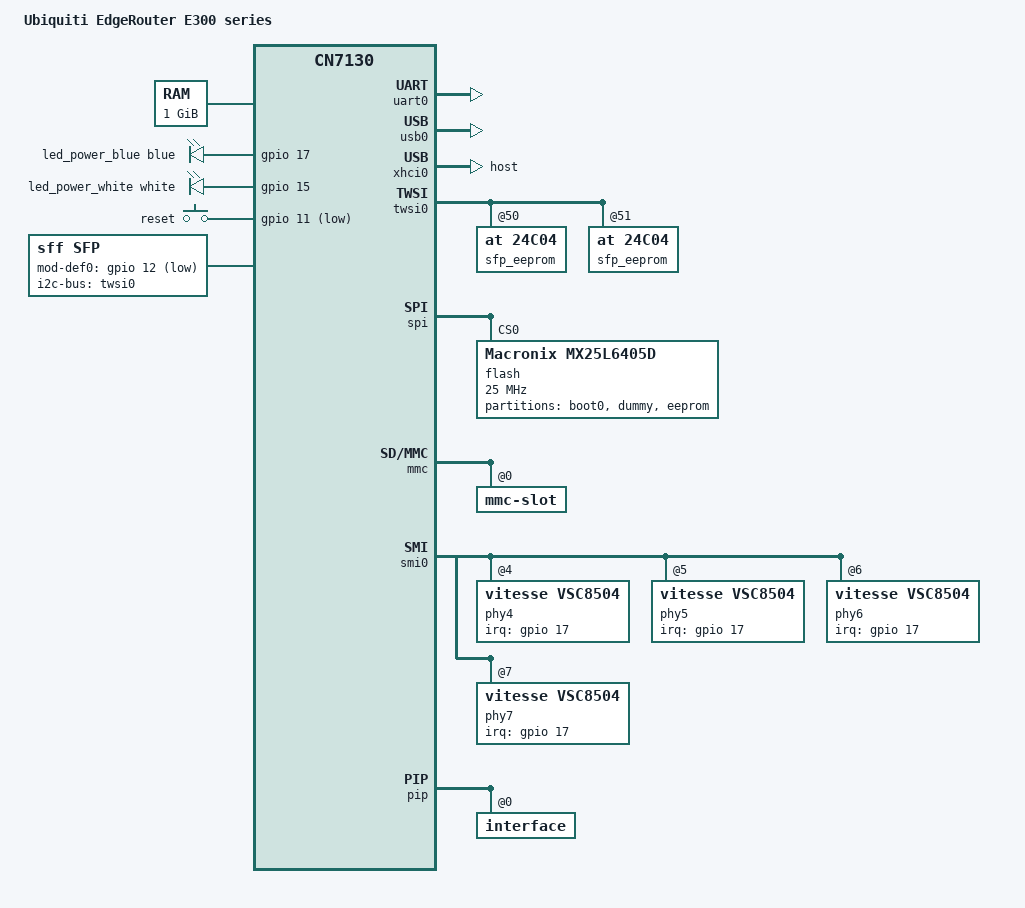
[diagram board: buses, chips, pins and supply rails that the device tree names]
// SPDX-License-Identifier: GPL-2.0-or-later OR MIT

#include "cn71xx.dtsi"

#include <dt-bindings/gpio/gpio.h>
#include <dt-bindings/input/input.h>
#include <dt-bindings/leds/common.h>

/ {
	compatible = "ubnt,edgerouter-e300", "cavium,cn7130";
	model = "Ubiquiti EdgeRouter E300 series";

	aliases {
		/* White + Blinking Blue */
		led-boot = &led_power_white;
		/* Blue + Blinking White */
		led-failsafe = &led_power_blue;
		/* Constant Blue */
		led-running = &led_power_blue;
		/* Blue + Blinking White */
		led-upgrade = &led_power_blue;
	};

	memory@0 {
		device_type = "memory";
		reg = <0x0 0x00000000>,
		      <0x0 0x10000000>,
		      <0x0 0x20000000>,
		      <0x0 0x30000000>;
	};

	leds {
		compatible = "gpio-leds";

		led_power_blue: power_blue {
			function = LED_FUNCTION_POWER;
			color = <LED_COLOR_ID_BLUE>;
			gpios = <&gpio 17 GPIO_ACTIVE_HIGH>;
		};

		led_power_white: power_white {
			function = LED_FUNCTION_POWER;
			color = <LED_COLOR_ID_WHITE>;
			gpios = <&gpio 15 GPIO_ACTIVE_HIGH>;
		};
	};

	keys {
		compatible = "gpio-keys-polled";
		poll-interval = <20>;

		reset {
			label = "reset";
			linux,code = <KEY_RESTART>;
			gpios = <&gpio 11 GPIO_ACTIVE_LOW>;
			debounce-interval = <60>;
		};
	};

	sfp: sfp {
		compatible = "sff,sfp";
		i2c-bus = <&twsi0>;
		/* Pins 12, 13 and 14 gets pulled low when SFP is plugged in */
		mod-def0-gpio = <&gpio 12 GPIO_ACTIVE_LOW>;
	};
};

&uart0 {
	status = "okay";
};

&usb0 {
	status = "okay";
};

&xhci0 {
	status = "okay";
	dr_mode = "host";
};

&twsi0 {
	status = "okay";

	sfp_eeprom@50 {
		compatible = "at,24c04";
		reg = <0x50>;
	};

	sfp_eeprom@51 {
		compatible = "at,24c04";
		reg = <0x51>;
	};
};

&spi {
	status = "okay";

	flash@0 {
		#address-cells = <1>;
		#size-cells = <1>;
		compatible = "Macronix,mx25l6405d", "spi-flash";
		reg = <0>;
		spi-max-frequency = <25000000>;

		partitions {
			compatible = "fixed-partitions";
			#address-cells = <1>;
			#size-cells = <1>;

			partition@0 {
				label = "boot0";
				read-only;
				reg = <0x000000 0x300000>;
			};

			partition@300000 {
				label = "dummy";
				read-only;
				reg = <0x300000 0x100000>;
			};

			partition@400000 {
				label = "eeprom";
				read-only;
				reg = <0x400000 0x10000>;

				nvmem-layout {
					compatible = "fixed-layout";
					#address-cells = <1>;
					#size-cells = <1>;

					macaddr_eeprom_0: macaddr@0 {
						compatible = "mac-base";
						reg = <0x0 0x6>;
						#nvmem-cell-cells = <1>;
					};
				};
			};
		};
	};
};

&mmc {
	status = "okay";

	mmc-slot@0 {
		compatible = "mmc-slot";
		reg = <0>;
		non-removable;
		max-frequency = <26000000>;
		voltage-ranges = <3300 3300>;
		bus-width = <8>;
	};
};

&smi0 {
	status = "okay";

	phy4: ethernet-phy@4 {
		device_type = "ethernet-phy";
		interrupts = <17 8>;
		interrupt-parent = <&gpio>;
		compatible = "vitesse,vsc8504", "ethernet-phy-ieee802.3-c22";
		reg = <4>;
		sfp = <&sfp>;
	};

	phy5: ethernet-phy@5 {
		device_type = "ethernet-phy";
		interrupts = <17 8>;
		interrupt-parent = <&gpio>;
		compatible = "vitesse,vsc8504", "ethernet-phy-ieee802.3-c22";
		reg = <5>;
	};

	phy6: ethernet-phy@6 {
		device_type = "ethernet-phy";
		interrupts = <17 8>;
		interrupt-parent = <&gpio>;
		compatible = "vitesse,vsc8504", "ethernet-phy-ieee802.3-c22";
		reg = <6>;
	};

	phy7: ethernet-phy@7 {
		device_type = "ethernet-phy";
		interrupts = <17 8>;
		interrupt-parent = <&gpio>;
		compatible = "vitesse,vsc8504", "ethernet-phy-ieee802.3-c22";
		reg = <7>;
	};
};

&pip {
	status = "okay";

	interface@0 {
		status = "okay";

		ethernet@1 {
			label = "lan0";
			status = "okay";
			phy-mode = "sgmii";
			phy-handle = <&phy5>;
			nvmem-cells = <&macaddr_eeprom_0 1>;
			nvmem-cell-names = "mac-address";
		};

		ethernet@2 {
			label = "lan1";
			status = "okay";
			phy-mode = "sgmii";
			phy-handle = <&phy6>;
			nvmem-cells = <&macaddr_eeprom_0 2>;
			nvmem-cell-names = "mac-address";
		};

		ethernet@3 {
			label = "lan2";
			status = "okay";
			phy-mode = "sgmii";
			phy-handle = <&phy7>;
			nvmem-cells = <&macaddr_eeprom_0 3>;
			nvmem-cell-names = "mac-address";
		};
	};
};
